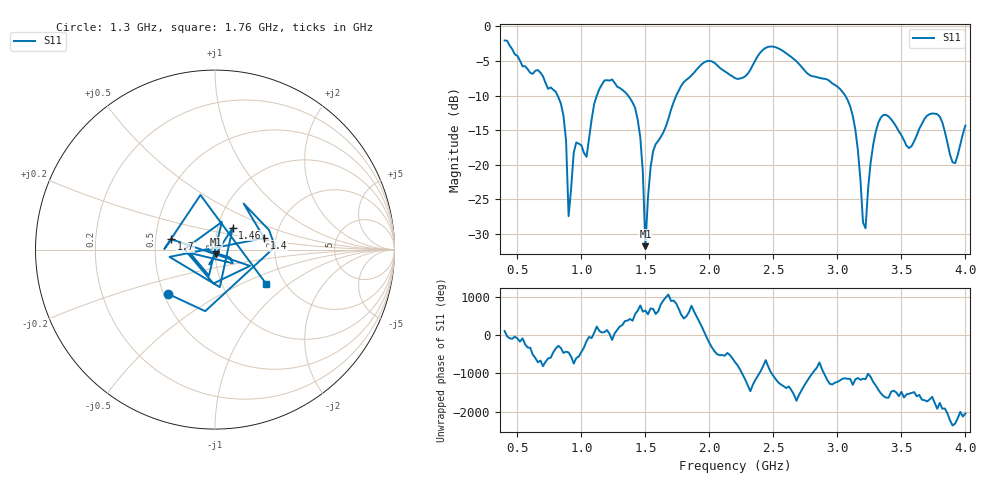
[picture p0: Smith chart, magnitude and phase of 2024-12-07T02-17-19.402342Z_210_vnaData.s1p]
!Created with skrf (http://scikit-rf.org).
# Hz S RI R 50.0
!freq ReS11 ImS11
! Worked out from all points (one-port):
!   181 points, 400 MHz to 4 GHz, reference 50 ohm
!   lowest |S11| = -31.8 dB at 1.5 GHz (marker M1), VSWR 1.05, Z = 50.3 - j2.57 ohm
!   |S11| at or under -10 dB: 813.6 MHz to 1.121 GHz (307.1 MHz wide, 31.8 % of centre); 1.364 GHz to 1.741 GHz (376.9 MHz wide, 24.3 % of centre); 3.061 GHz to end of sweep
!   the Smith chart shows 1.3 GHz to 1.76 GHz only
!   S11 on the Smith chart (normalised r, x): 1.3 GHz: 0.53, -0.30; 1.4 GHz: 1.73, +0.24; 1.46 GHz: 1.18, +0.30; 1.7 GHz: 0.61, +0.07; 1.76 GHz: 1.61, -0.69
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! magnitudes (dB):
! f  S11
! 400 MHz  -2.0
! 860 MHz  -12.9
! 880 MHz  -16.5
! 900 MHz  -27.4
! 960 MHz  -16.8
! 1.04 GHz  -18.9
! 1.14 GHz  -9.1
! 1.3 GHz  -8.9
! 1.4 GHz  -11.0
! 1.46 GHz  -16.0
! 1.48 GHz  -21.0
! 1.5 GHz  -31.8
! 1.56 GHz  -18.1
! 1.7 GHz  -12.1
! 1.76 GHz  -9.3
! 1.98 GHz  -5.0
! 2.2 GHz  -7.5
! 2.46 GHz  -3.0
! 2.66 GHz  -4.7
! 3.1 GHz  -11.6
! 3.14 GHz  -14.9
! 3.22 GHz  -29.2
! 3.26 GHz  -19.7
! 3.34 GHz  -13.2
! 3.56 GHz  -17.6
! 3.78 GHz  -12.7
! 3.92 GHz  -19.8
! 4 GHz  -14.3
